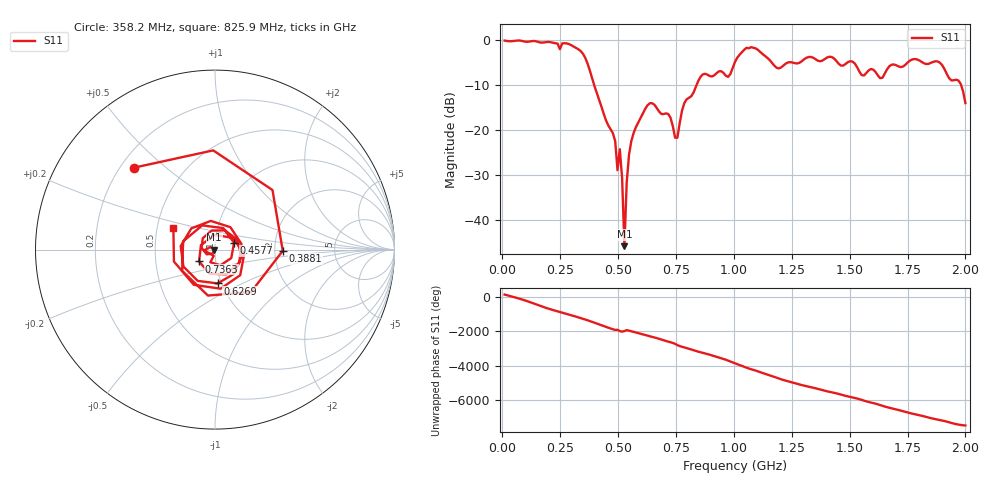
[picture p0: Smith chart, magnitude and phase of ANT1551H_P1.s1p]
!Created with skrf (http://scikit-rf.org).
# Hz S RI R 50.0
!freq ReS11 ImS11
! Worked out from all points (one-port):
!   201 points, 10 MHz to 2 GHz, reference 50 ohm
!   lowest |S11| = -45.9 dB at 527.4 MHz (marker M1), VSWR 1.01, Z = 49.5 - j0.0408 ohm
!   |S11| at or under -10 dB: 397.1 MHz to 838.7 MHz (441.6 MHz wide, 71.5 % of centre); 1.982 GHz to end of sweep
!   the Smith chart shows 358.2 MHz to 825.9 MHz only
!   S11 on the Smith chart (normalised r, x): 358.2 MHz: 0.26, +0.40; 388.1 MHz: 2.21, -0.03; 457.8 MHz: 1.23, +0.09; 626.9 MHz: 0.96, -0.37; 736.4 MHz: 0.83, -0.11; 825.9 MHz: 0.61, +0.16
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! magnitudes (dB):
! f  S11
! 10 MHz  0.0
! 258.8 MHz  -0.7
! 358.2 MHz  -3.9
! 388.1 MHz  -8.5
! 457.8 MHz  -19.0
! 487.6 MHz  -22.5
! 497.6 MHz  -29.0
! 507.5 MHz  -24.3
! 517.5 MHz  -30.7
! 527.4 MHz  -45.9
! 537.4 MHz  -31.7
! 547.3 MHz  -25.5
! 626.9 MHz  -14.5
! 736.4 MHz  -19.1
! 756.2 MHz  -21.7
! 786.1 MHz  -14.0
! 825.9 MHz  -11.6
! 865.7 MHz  -7.6
! 975.1 MHz  -8.1
! 1.005 GHz  -4.8
! 1.075 GHz  -1.5
! 1.254 GHz  -4.9
! 1.502 GHz  -4.6
! 1.632 GHz  -8.4
! 1.751 GHz  -4.9
! 1.891 GHz  -5.0
! 1.98 GHz  -9.7
! 2 GHz  -14.0
